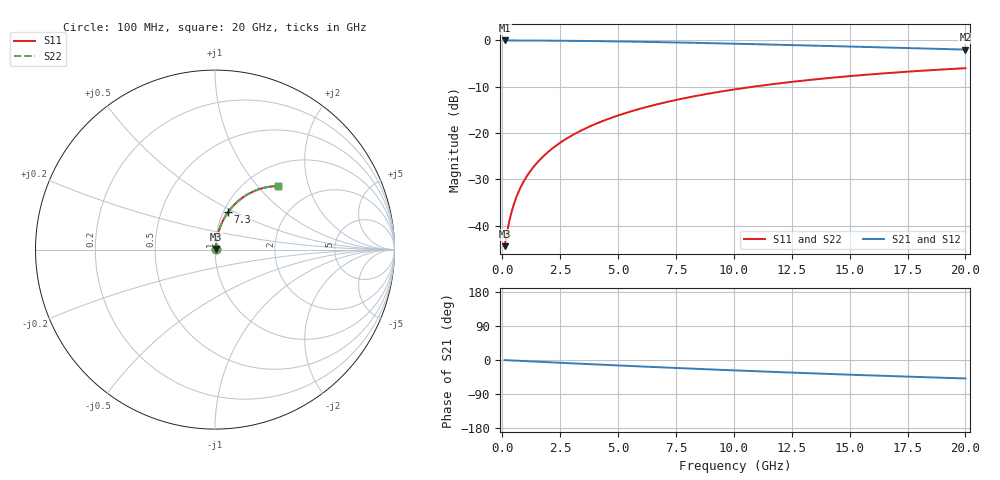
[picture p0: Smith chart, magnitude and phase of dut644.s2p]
! Touchstone file exported from HFSS 2024.1.0
!  File:  C:/UserFiles/LocalFiles/RDL_TSV_Batchsim/temp_RDL_bottom_644_1779785030.aedt
!  Generated:  04:46:58 PM May 26, 2026
!  Design:  RDL_bottom
!  Project:  temp_RDL_bottom_644_1779785030
!  Setup:  Setup1
!  Solution:  Sweep
! Variables:
!  dtsv = 10.80580581um
!  hbump = 3um
!  htsv = 86.95um
!  ldown = 677.39um
!  lrdl = 100um
!  p = 40
!  p1 = 45.16um
!  rhole = 1um
!  t = 450um
!  tdown = 3.79um
!  trdl = 3.915915916um
!  wdown = 12.73um
!  wrdl = 20um
# GHz S MA R 50.000000
! Terminal data exported
! Port[1] = RDL1_T1
! Port[2] = RDL1_T2
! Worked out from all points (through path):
!   200 points, 100 MHz to 20 GHz, reference 50 ohm
!   highest |S21| = -0.04 dB at 100 MHz (marker M1); lowest = -2.0 dB at 20 GHz (marker M2)
!   group delay of S21, straight-line fit = 6.76 ps
!   lowest |S11| = -44.5 dB at 100 MHz (marker M3), VSWR 1.01, Z = 50.5 + j0.33 ohm
!   |S11| at or under -10 dB: start of sweep to 10.88 GHz
!   |S22| runs from -44.5 to -6.0 dB; largest |S21 - S12| = 2.7e-15
!   S11 on the Smith chart (normalised r, x): 100 MHz: 1.01, +0.01; 7.3 GHz: 1.05, +0.46; 20 GHz: 1.38, +1.30
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0.1  0.005987 33.1  0.995 -0.3  0.995 -0.3  0.005987 33.1
! Gamma 0 0 0 0
! Port Impedance 50 0 50 0
0.2  0.008289 51.7  0.9949 -0.6  0.9949 -0.6  0.008289 51.7
0.3  0.01106 61.4  0.9947 -0.9  0.9947 -0.9  0.01106 61.4
0.4  0.014 66.8  0.9945 -1.2  0.9945 -1.2  0.014 66.8
0.5  0.01699 70.3  0.9944 -1.5  0.9944 -1.5  0.01699 70.3
0.6  0.02001 72.7  0.9942 -1.8  0.9942 -1.8  0.02001 72.7
0.8  0.02609 75.6  0.9938 -2.4  0.9938 -2.4  0.02609 75.6
1.1  0.03526 78.0  0.9931 -3.2  0.9931 -3.2  0.03526 78.0
1.5  0.04755 79.3  0.992 -4.4  0.992 -4.4  0.04755 79.3
1.8  0.05679 79.7  0.991 -5.3  0.991 -5.3  0.05679 79.7
2.1  0.06603 79.8  0.9899 -6.2  0.9899 -6.2  0.06603 79.8
2.7  0.0845 79.4  0.9872 -7.9  0.9872 -7.9  0.08449 79.4
3.5  0.109 78.3  0.9826 -10.2  0.9826 -10.2  0.109 78.3
4.2  0.1302 77.1  0.9778 -12.1  0.9778 -12.1  0.1302 77.1
5  0.1542 75.6  0.9715 -14.4  0.9715 -14.4  0.1542 75.6
6.8  0.2068 71.9  0.9547 -19.2  0.9547 -19.2  0.2068 71.9
7.3  0.221 70.8  0.9495 -20.5  0.9495 -20.5  0.221 70.8
8.6  0.2569 68.0  0.9351 -23.9  0.9351 -23.9  0.2569 68.0
10.1  0.2966 64.7  0.9174 -27.6  0.9174 -27.6  0.2966 64.8
13.4  0.3758 57.7  0.876 -35.3  0.876 -35.3  0.3759 57.8
16.7  0.4434 51.2  0.8338 -42.3  0.8338 -42.3  0.4435 51.2
20  0.4995 45.1  0.7931 -48.7  0.7931 -48.7  0.4996 45.2
